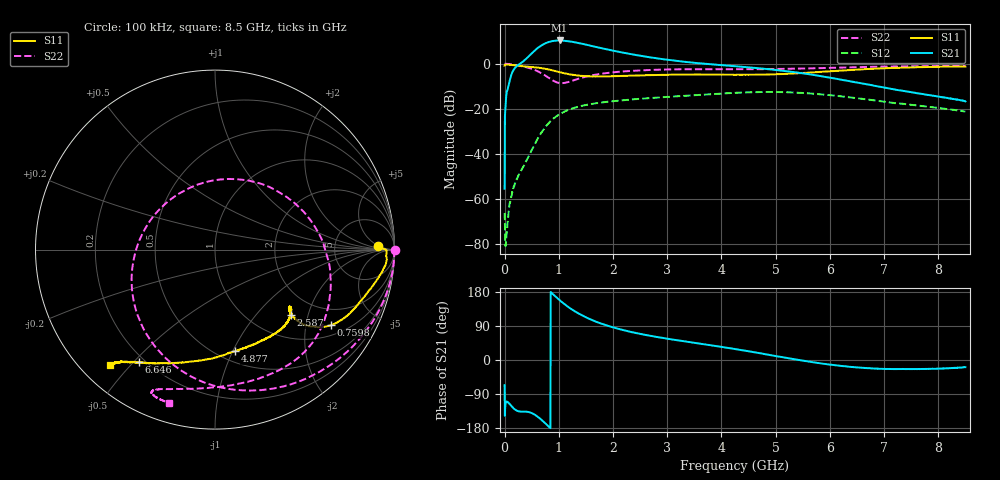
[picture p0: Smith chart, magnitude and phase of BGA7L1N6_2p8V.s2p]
! (c) 2014 Infineon Technologies AG
! BGA7M1N6 - Silicon Germanium Low Noise Amplifier for LTE
! 03 October 2014
! Special Application Board
! C1 = L1 = 0 Ohm
! C2 = 100 nF
! Vcc = 2.8V
! RF input and output lines de-embedded
! Port 1 reference plane: LNA input AI (pin 5)
! Port 2 reference plane: LNA output AO (pin 3)
! Network Data:
! Measured BGA7L1N6 device level s-parameters
# Hz S dB R 50
!Freq  MagS11  AngS11  MagS21  AngS21  MagS12  AngS12  MagS22  AngS22
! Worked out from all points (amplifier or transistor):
!   1601 points, 100 kHz to 8.5 GHz, reference 50 ohm
!   highest |S21| = 10.4 dB at 1.015 GHz (marker M1)
!   |S21| within 3 dB of that: 631 MHz to 1.708 GHz (1.077 GHz wide, 92.1 % of centre)
!   unconditionally stable (mu >= 1): 3.799 MHz to end of sweep
!   at 1.413 GHz: K = 1.20, MAG = 11.1 dB, |S12| = -18.7 dB
!   at 4.25 GHz: K = 1.23, MAG = 3.0 dB, |S12| = -12.9 dB
!   at 8.5 GHz: K = 2.62, MAG = -4.8 dB, |S12| = -21.3 dB
!   lowest NFmin = 0.59 dB at 780 MHz
!   S11 on the Smith chart (normalised r, x): 100 kHz: 19, +4; 759.8 MHz: 1.34, -2.77; 2.587 GHz: 1.48, -1.56; 4.877 GHz: 0.60, -1.02; 6.646 GHz: 0.17, -0.52; 8.5 GHz: 0.09, -0.44
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100000  -0.86 1.3  -55.50 -66.3  -66.27 114.7  0.01 -0.1
4.791194e7  -0.37 -2.9  -11.95 -110.2  -73.55 157.6  -0.04 -8.4
1.382234e8  -0.57 -7.9  -4.01 -123.6  -56.91 139.2  -0.29 -23.7
4.25095e8  -1.30 -19.5  2.84 -136.8  -41.99 162.7  -1.69 -72.0
5.685308e8  -1.61 -25.2  6.15 -145.4  -35.05 168.4  -2.86 -100.8
6.641547e8  -1.87 -29.2  7.90 -155.9  -31.07 163.9  -3.99 -122.5
7.597786e8  -2.27 -33.2  9.16 -168.3  -27.83 156.2  -5.39 -147.3
8.872771e8  -2.94 -37.3  10.11 174.2  -24.59 143.4  -7.41 174.0
1.014776e9  -3.73 -40.0  10.36 157.8  -22.34 130.8  -8.56 131.5
1.200711e9  -4.70 -40.8  9.94 137.3  -20.23 114.8  -7.92 78.2
1.418521e9  -5.36 -39.5  8.93 118.6  -18.70 100.7  -6.29 39.6
1.65758e9  -5.61 -37.7  7.63 102.8  -17.64 88.7  -4.93 13.9
1.91789e9  -5.58 -37.4  6.24 89.7  -16.81 79.1  -4.02 -4.3
2.183512e9  -5.38 -38.1  4.96 79.2  -16.17 71.5  -3.40 -17.3
2.587257e9  -5.09 -40.8  3.23 66.5  -15.41 62.8  -2.85 -31.4
2.836942e9  -4.98 -43.0  2.31 60.1  -14.99 58.4  -2.63 -37.9
4.25005e9  -4.87 -63.2  -1.07 29.0  -12.90 35.5  -2.40 -68.0
4.876918e9  -4.77 -78.9  -2.42 13.6  -12.53 22.6  -2.37 -83.2
5.668471e9  -3.84 -103.1  -4.86 -5.5  -13.24 5.7  -2.03 -101.5
6.645959e9  -2.40 -124.2  -8.98 -21.2  -15.73 -7.7  -1.42 -113.1
7.086892e9  -1.91 -128.7  -10.94 -23.6  -17.11 -9.2  -1.22 -113.9
8.5e9  -1.24 -132.3  -16.71 -19.0  -21.27 0.3  -1.00 -106.7
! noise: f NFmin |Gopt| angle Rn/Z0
7e+08  0.6365  0.5534  24.59  0.2314
7.2e+08  0.6206  0.5631  25.98  0.227
7.6e+08  0.5969  0.5872  27.62  0.2234
7.8e+08  0.5907  0.5785  28.14  0.2055
8.2e+08  0.6185  0.5491  28.46  0.2129
8.4e+08  0.6208  0.5488  29.52  0.2131
8.8e+08  0.6305  0.5561  31.8  0.2058
9e+08  0.6434  0.5552  32.49  0.2021
9.4e+08  0.6426  0.5445  33.84  0.2126
9.8e+08  0.6451  0.5287  34.08  0.2171
